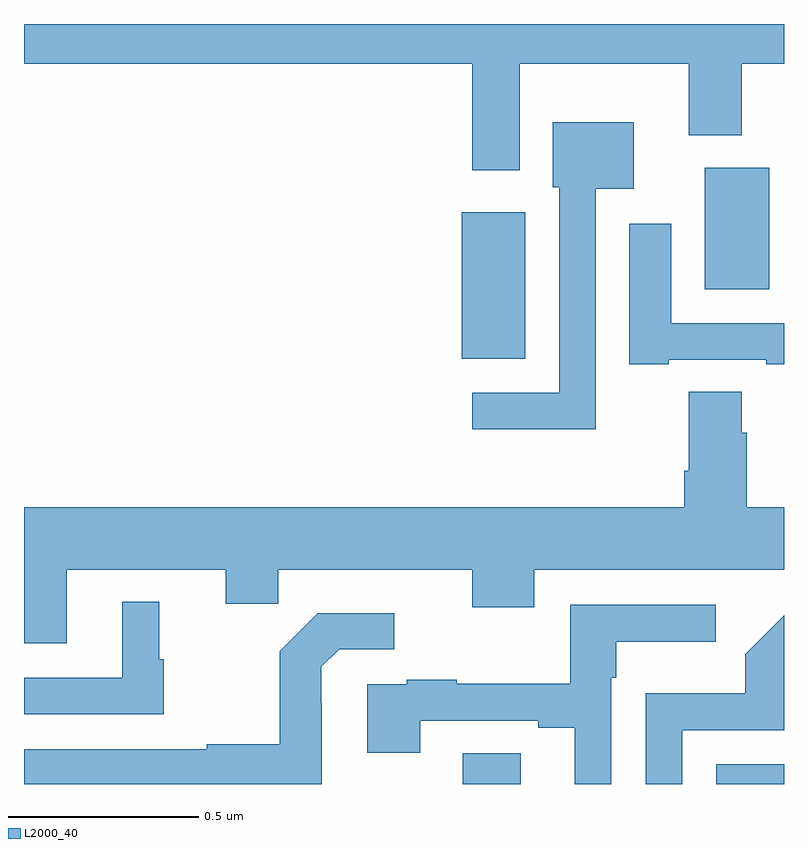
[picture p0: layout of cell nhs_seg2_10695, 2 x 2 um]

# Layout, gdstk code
import gdstk
lib = gdstk.Library(unit=1e-6, precision=1e-09)
def R(c, l, rs):  # rectangles x0, y0, x1, y1
    for r in rs: c.add(gdstk.rectangle(r[:2], r[2:], *l))
def P(c, l, *ps):  # polygons
    for p in ps: c.add(gdstk.Polygon(p, *l))
L2000_40 = (2000, 40)

nhs_seg2_10695 = lib.new_cell('nhs_seg2_10695')
R(nhs_seg2_10695, L2000_40, [(246.155,585.8,246.307,585.881), (246.822,585.8,247,585.852), (246.152,586.919,246.319,587.305), (246.791,587.102,246.961,587.422)])
P(nhs_seg2_10695, L2000_40, [(246.304,587.696),(246.749,587.696),(246.749,587.507),(246.889,587.507),(246.889,587.696),(247,587.696),(247,587.8),(245,587.8),(245,587.696),(246.179,587.696),(246.179,587.415),(246.304,587.415)],
  [(246.504,587.366),(246.604,587.366),(246.604,587.542),(246.392,587.542),(246.392,587.37),(246.408,587.37),(246.408,586.83),(246.18,586.83),(246.18,586.733),(246.504,586.733)],
  [(246.697,586.917),(246.953,586.917),(246.953,586.905),(247,586.905),(247,587.013),(246.703,587.013),(246.703,587.275),(246.593,587.275),(246.593,586.905),(246.697,586.905)],
  [(245.113,586.364),(245.531,586.364),(245.531,586.274),(245.669,586.274),(245.669,586.364),(246.179,586.364),(246.179,586.265),(246.343,586.265),(246.343,586.364),(247,586.364),(247,586.528),(246.902,586.528),(246.902,586.724),(246.889,586.724),(246.889,586.832),(246.749,586.832),(246.749,586.624),(246.737,586.624),(246.737,586.528),(245,586.528),(245,586.17),(245.113,586.17)],
  [(245.368,586.128),(245.356,586.128),(245.356,586.279),(245.258,586.279),(245.258,586.08),(245,586.08),(245,585.984),(245.368,585.984)],
  [(246.546,586.079),(246.559,586.079),(246.559,586.175),(246.82,586.175),(246.82,586.272),(246.438,586.272),(246.438,586.064),(246.139,586.064),(246.139,586.075),(246.007,586.075),(246.007,586.062),(245.903,586.062),(245.903,585.882),(246.043,585.882),(246.043,585.966),(246.353,585.966),(246.353,585.948),(246.449,585.948),(246.449,585.8),(246.546,585.8)],
  [(245.784,586.013),(245.782,586.013),(245.782,586.108),(245.829,586.155),(245.974,586.155),(245.974,586.249),(245.773,586.249),(245.673,586.149),(245.673,585.904),(245.481,585.904),(245.481,585.891),(245,585.891),(245,585.8),(245.784,585.8)],
  [(246.732,585.942),(247,585.942),(247,586.244),(246.898,586.142),(246.898,586.039),(246.636,586.039),(246.636,585.8),(246.732,585.8)])

lib.write_gds('nhs_seg2_10695.gds')
